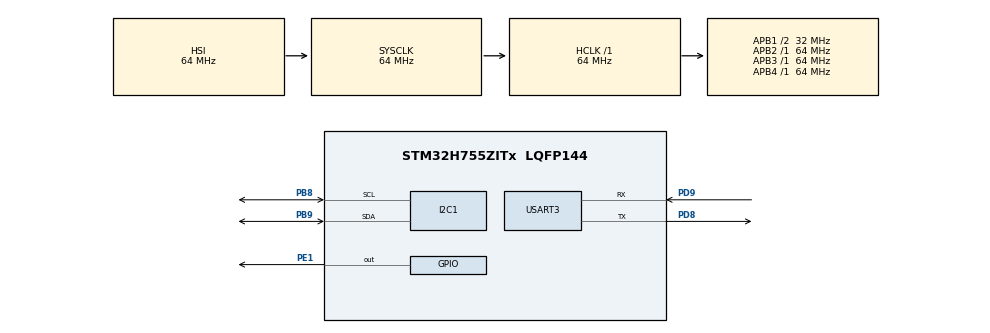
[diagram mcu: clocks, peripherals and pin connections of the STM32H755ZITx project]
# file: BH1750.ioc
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CortexM4.IPs=BDMA,CORTEX_M4\:I,DEBUG,DMA,FATFS_M4\:I,FREERTOS_M4\:I,GPIO,IWDG2\:I,MDMA,NVIC2\:I,OPENAMP_M4\:I,PDM2PCM_M4\:I,PWR,RCC,RESMGR_UTILITY,SYS_M4\:I,USB_DEVICE_M4\:I,USB_HOST_M4\:I,VREFBUF,WWDG2\:I
CortexM7.IPs=BDMA\:I,CORTEX_M7\:I,DEBUG\:I,DMA\:I,FATFS_M7\:I,FREERTOS_M7\:I,GPIO\:I,IWDG1\:I,MDMA\:I,NVIC1\:I,OPENAMP_M7\:I,PDM2PCM_M7\:I,PWR\:I,RCC\:I,RESMGR_UTILITY\:I,SYS\:I,USB_DEVICE_M7\:I,USB_HOST_M7\:I,VREFBUF\:I,WWDG1\:I,I2C1\:I,USART3\:I
CortexM7.Pins=PE1
I2C1.Timing=0x00707CBB
Mcu.Family=STM32H7
Mcu.Name=STM32H755ZITx
Mcu.Package=LQFP144
NVIC1.PriorityGroup=NVIC_PRIORITYGROUP_4
NVIC2.PriorityGroup=NVIC_PRIORITYGROUP_4
PB8.Mode=I2C
PB8.PinAttribute=CortexM7
PB8.Signal=I2C1_SCL
PB9.Mode=I2C
PB9.PinAttribute=CortexM7
PB9.Signal=I2C1_SDA
PC14-OSC32_IN\ (OSC32_IN).Mode=LSE-External-Oscillator
PC14-OSC32_IN\ (OSC32_IN).PinAttribute=Free
PC14-OSC32_IN\ (OSC32_IN).Signal=RCC_OSC32_IN
PC15-OSC32_OUT\ (OSC32_OUT).Mode=LSE-External-Oscillator
PC15-OSC32_OUT\ (OSC32_OUT).PinAttribute=Free
PC15-OSC32_OUT\ (OSC32_OUT).Signal=RCC_OSC32_OUT
PD8.Mode=Asynchronous
PD8.PinAttribute=CortexM7
PD8.Signal=USART3_TX
PD9.Mode=Asynchronous
PD9.PinAttribute=CortexM7
PD9.Signal=USART3_RX
PE1.GPIO_Speed=GPIO_SPEED_FREQ_VERY_HIGH
PE1.PinAttribute=CortexM7
PE1.Signal=GPIO_Output
PH0-OSC_IN\ (PH0).Mode=HSE-External-Oscillator
PH0-OSC_IN\ (PH0).PinAttribute=Free
PH0-OSC_IN\ (PH0).Signal=RCC_OSC_IN
PH1-OSC_OUT\ (PH1).Mode=HSE-External-Oscillator
PH1-OSC_OUT\ (PH1).PinAttribute=Free
PH1-OSC_OUT\ (PH1).Signal=RCC_OSC_OUT
ProjectManager.HeapSize=M4-0x200,M7-0x200
ProjectManager.StackSize=M4-0x400,M7-0x400
ProjectManager.TargetToolchain=STM32CubeIDE
RCC.ADCFreq_Value=129000000
RCC.APB1Freq_Value=32000000
RCC.APB2Freq_Value=64000000
RCC.APB3Freq_Value=64000000
RCC.APB4Freq_Value=64000000
RCC.CortexFreq_Value=64000000
RCC.D2PPRE1=RCC_APB1_DIV2
RCC.HCLKFreq_Value=64000000
RCC.SYSCLKFreq_VALUE=64000000
RCC.USBFreq_Value=129000000
SYS.userName=SYS_M7
USART3.VirtualMode-Asynchronous=VM_ASYNC
VP_SYS_M4_VS_Systick.Mode=SysTick
board=custom

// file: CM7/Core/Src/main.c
/* USER CODE BEGIN Header */
/**
  ******************************************************************************
  * @file           : main.c
  * @brief          : Main program body
  ******************************************************************************
  * @attention
  *
  * Copyright (c) 2023 STMicroelectronics.
  * All rights reserved.
  *
  * This software is licensed under terms that can be found in the LICENSE file
  * in the root directory of this software component.
  * If no LICENSE file comes with this software, it is provided AS-IS.
  *
  ******************************************************************************
  */
/* USER CODE END Header */
#include "main.h"

/* USER CODE BEGIN Includes */
#include "hex2bin.h"
#include "array.h"
/* USER CODE END Includes */

/* USER CODE BEGIN PD */

#ifndef HSEM_ID_0
#define HSEM_ID_0 (0U) /* HW semaphore 0*/
#endif

/* USER CODE END PD */

I2C_HandleTypeDef hi2c1;

UART_HandleTypeDef huart3;

void SystemClock_Config(void);
static void MPU_Config(void);
static void MX_GPIO_Init(void);
static void MX_I2C1_Init(void);
static void MX_USART3_UART_Init(void);

/* USER CODE BEGIN 0 */
int8_t data[27] = "Hello World\n";
const uint8_t BH1750_ADDR = 0x23; //
uint8_t dataBuffer[2] = {0x11}; // 0x10 continous high reso measurement mode
#define light_mode LIGHT_MODE_AUTO
/* USER CODE END 0 */

int main(void)
{
  /* USER CODE BEGIN 1 */
	// Must initialize buffer at the start of every round
	uint8_t dataBufferChar[2] = {0x00,0x00};
	uint8_t lux_msb;
	uint8_t lux_lsb;

// for UART Transmission
	uint8_t *plux_msb = &lux_msb;
	uint8_t *plux_lsb = &lux_lsb;

// 16-bit storages
	uint16_t lux = 0;
	uint16_t lux_data = 0;
  /* USER CODE END 1 */

/* USER CODE BEGIN Boot_Mode_Sequence_0 */
  int32_t timeout;
/* USER CODE END Boot_Mode_Sequence_0 */

  /* MPU Configuration--------------------------------------------------------*/
  MPU_Config();

/* USER CODE BEGIN Boot_Mode_Sequence_1 */
  /* Wait until CPU2 boots and enters in stop mode or timeout*/
  timeout = 0xFFFF;
  while((__HAL_RCC_GET_FLAG(RCC_FLAG_D2CKRDY) != RESET) && (timeout-- > 0));
  if ( timeout < 0 )
  {
  Error_Handler();
  }
/* USER CODE END Boot_Mode_Sequence_1 */
  /* MCU Configuration--------------------------------------------------------*/

  /* Reset of all peripherals, Initializes the Flash interface and the Systick. */
  HAL_Init();

  /* Configure the system clock */
  SystemClock_Config();
/* USER CODE BEGIN Boot_Mode_Sequence_2 */
/* When system initialization is finished, Cortex-M7 will release Cortex-M4 by means of
HSEM notification */
/*HW semaphore Clock enable*/
__HAL_RCC_HSEM_CLK_ENABLE();
/*Take HSEM */
HAL_HSEM_FastTake(HSEM_ID_0);
/*Release HSEM in order to notify the CPU2(CM4)*/
HAL_HSEM_Release(HSEM_ID_0,0);
/* wait until CPU2 wakes up from stop mode */
timeout = 0xFFFF;
while((__HAL_RCC_GET_FLAG(RCC_FLAG_D2CKRDY) == RESET) && (timeout-- > 0));
if ( timeout < 0 )
{
Error_Handler();
}
/* USER CODE END Boot_Mode_Sequence_2 */

  /* Initialize all configured peripherals */
  MX_GPIO_Init();
  MX_I2C1_Init();
  MX_USART3_UART_Init();
  /* USER CODE BEGIN 2 */
  HAL_UART_Transmit(&huart3, data, 27, 10);
  /* USER CODE END 2 */

  /* Infinite loop */
  while (1)
  {

    /* USER CODE BEGIN 3 */
	  //HAL_GPIO_WritePin(GPIOE, GPIO_PIN_1, GPIO_PIN_SET);
	  //HAL_Delay(100);
	  //HAL_GPIO_WritePin(GPIOE, GPIO_PIN_1, GPIO_PIN_RESET);
	  //HAL_Delay(100);

	  char binary_buffer[17] = {};
	  		char result[5] = {};
	  		lux_data = 0;
	  		uint16_t lux_array[5] = {};
	  		//uint8_t data[] = "Nope, standing up for myself\n";
	  		//HAL_UART_Transmit(&huart1, data, sizeof(data), 500);
	  		//HAL_Delay(500);
	  		HAL_I2C_Master_Transmit(&hi2c1, BH1750_ADDR<<1, dataBuffer, 1, 500);
	  		HAL_Delay(180);
	  		HAL_I2C_Master_Receive(&hi2c1, BH1750_ADDR<<1, dataBufferChar, 2, 500);
	  		lux_msb = dataBufferChar[0];
	  		lux_lsb = dataBufferChar[1];
	  		lux = (lux_msb << 8 )| lux_lsb;
	  		sprintf(result, "%04x", lux);
	  		HexToBin(result, binary_buffer);
	  		for(uint8_t x = 0; x<16; x++){
	  			switch(binary_buffer[15-x]){
	  				case '1': lux_data = lux_data + pow(2,x);
	  					break;

	  				case '0':
	  				default:
	  						lux_data += 0;
	  			}
	  		}
	  		char data[14];
	  		sprintf(data, "%04d lux \r\n", lux_data);
	  		light_on_Init();

	  		for (uint8_t x=0;x<5;x++)
	  		{
	  			if(lux <= LUX_THRESHOLD)
	  			{
	  				lux_array[x] = 1;
	  			}
	  			else{
	  				lux_array[x] = 0;
	  			}
	  			HAL_Delay(250);
	  		}

	  		if(light_status_indicator(light_mode, lux_array)==1)
	  		{
	  				HAL_GPIO_WritePin(GPIOE,GPIO_PIN_1,1);
	  		}
	  		else
	  		{
	  			HAL_GPIO_WritePin(GPIOE,GPIO_PIN_1,0);
	  		}

	  		HAL_UART_Transmit(&huart3, (uint8_t*)(data), strlen(data), 500);
	  		HAL_Delay(100);
  }
  /* USER CODE END 3 */
}

void SystemClock_Config(void)
{
  RCC_OscInitTypeDef RCC_OscInitStruct = {0};
  RCC_ClkInitTypeDef RCC_ClkInitStruct = {0};

  /** Supply configuration update enable
  */
  HAL_PWREx_ConfigSupply(PWR_DIRECT_SMPS_SUPPLY);

  /** Configure the main internal regulator output voltage
  */
  __HAL_PWR_VOLTAGESCALING_CONFIG(PWR_REGULATOR_VOLTAGE_SCALE3);

  while(!__HAL_PWR_GET_FLAG(PWR_FLAG_VOSRDY)) {}

  /** Initializes the RCC Oscillators according to the specified parameters
  * in the RCC_OscInitTypeDef structure.
  */
  RCC_OscInitStruct.OscillatorType = RCC_OSCILLATORTYPE_HSI;
  RCC_OscInitStruct.HSIState = RCC_HSI_DIV1;
  RCC_OscInitStruct.HSICalibrationValue = RCC_HSICALIBRATION_DEFAULT;
  RCC_OscInitStruct.PLL.PLLState = RCC_PLL_NONE;
  if (HAL_RCC_OscConfig(&RCC_OscInitStruct) != HAL_OK)
  {
    Error_Handler();
  }

  /** Initializes the CPU, AHB and APB buses clocks
  */
  RCC_ClkInitStruct.ClockType = RCC_CLOCKTYPE_HCLK|RCC_CLOCKTYPE_SYSCLK
                              |RCC_CLOCKTYPE_PCLK1|RCC_CLOCKTYPE_PCLK2
                              |RCC_CLOCKTYPE_D3PCLK1|RCC_CLOCKTYPE_D1PCLK1;
  RCC_ClkInitStruct.SYSCLKSource = RCC_SYSCLKSOURCE_HSI;
  RCC_ClkInitStruct.SYSCLKDivider = RCC_SYSCLK_DIV1;
  RCC_ClkInitStruct.AHBCLKDivider = RCC_HCLK_DIV1;
  RCC_ClkInitStruct.APB3CLKDivider = RCC_APB3_DIV1;
  RCC_ClkInitStruct.APB1CLKDivider = RCC_APB1_DIV2;
  RCC_ClkInitStruct.APB2CLKDivider = RCC_APB2_DIV1;
  RCC_ClkInitStruct.APB4CLKDivider = RCC_APB4_DIV1;

  if (HAL_RCC_ClockConfig(&RCC_ClkInitStruct, FLASH_LATENCY_1) != HAL_OK)
  {
    Error_Handler();
  }
}

static void MX_I2C1_Init(void)
{

  hi2c1.Instance = I2C1;
  hi2c1.Init.Timing = 0x00707CBB;
  hi2c1.Init.OwnAddress1 = 0;
  hi2c1.Init.AddressingMode = I2C_ADDRESSINGMODE_7BIT;
  hi2c1.Init.DualAddressMode = I2C_DUALADDRESS_DISABLE;
  hi2c1.Init.OwnAddress2 = 0;
  hi2c1.Init.OwnAddress2Masks = I2C_OA2_NOMASK;
  hi2c1.Init.GeneralCallMode = I2C_GENERALCALL_DISABLE;
  hi2c1.Init.NoStretchMode = I2C_NOSTRETCH_DISABLE;
  if (HAL_I2C_Init(&hi2c1) != HAL_OK)
  {
    Error_Handler();
  }

  /** Configure Analogue filter
  */
  if (HAL_I2CEx_ConfigAnalogFilter(&hi2c1, I2C_ANALOGFILTER_ENABLE) != HAL_OK)
  {
    Error_Handler();
  }

  /** Configure Digital filter
  */
  if (HAL_I2CEx_ConfigDigitalFilter(&hi2c1, 0) != HAL_OK)
  {
    Error_Handler();
  }

}

static void MX_USART3_UART_Init(void)
{

  huart3.Instance = USART3;
  huart3.Init.BaudRate = 115200;
  huart3.Init.WordLength = UART_WORDLENGTH_8B;
  huart3.Init.StopBits = UART_STOPBITS_1;
  huart3.Init.Parity = UART_PARITY_NONE;
  huart3.Init.Mode = UART_MODE_TX_RX;
  huart3.Init.HwFlowCtl = UART_HWCONTROL_NONE;
  huart3.Init.OverSampling = UART_OVERSAMPLING_16;
  huart3.Init.OneBitSampling = UART_ONE_BIT_SAMPLE_DISABLE;
  huart3.Init.ClockPrescaler = UART_PRESCALER_DIV1;
  huart3.AdvancedInit.AdvFeatureInit = UART_ADVFEATURE_NO_INIT;
  if (HAL_UART_Init(&huart3) != HAL_OK)
  {
    Error_Handler();
  }
  if (HAL_UARTEx_SetTxFifoThreshold(&huart3, UART_TXFIFO_THRESHOLD_1_8) != HAL_OK)
  {
    Error_Handler();
  }
  if (HAL_UARTEx_SetRxFifoThreshold(&huart3, UART_RXFIFO_THRESHOLD_1_8) != HAL_OK)
  {
    Error_Handler();
  }
  if (HAL_UARTEx_DisableFifoMode(&huart3) != HAL_OK)
  {
    Error_Handler();
  }

}

static void MX_GPIO_Init(void)
{
  GPIO_InitTypeDef GPIO_InitStruct = {0};

  /* GPIO Ports Clock Enable */
  __HAL_RCC_GPIOD_CLK_ENABLE();
  __HAL_RCC_GPIOB_CLK_ENABLE();
  __HAL_RCC_GPIOE_CLK_ENABLE();

  /*Configure GPIO pin Output Level */
  HAL_GPIO_WritePin(GPIOE, GPIO_PIN_1, GPIO_PIN_RESET);

  /*Configure GPIO pin : PE1 */
  GPIO_InitStruct.Pin = GPIO_PIN_1;
  GPIO_InitStruct.Mode = GPIO_MODE_OUTPUT_PP;
  GPIO_InitStruct.Pull = GPIO_NOPULL;
  GPIO_InitStruct.Speed = GPIO_SPEED_FREQ_VERY_HIGH;
  HAL_GPIO_Init(GPIOE, &GPIO_InitStruct);

}

/* MPU Configuration */

void MPU_Config(void)
{
  MPU_Region_InitTypeDef MPU_InitStruct = {0};

  /* Disables the MPU */
  HAL_MPU_Disable();

  /** Initializes and configures the Region and the memory to be protected
  */
  MPU_InitStruct.Enable = MPU_REGION_ENABLE;
  MPU_InitStruct.Number = MPU_REGION_NUMBER0;
  MPU_InitStruct.BaseAddress = 0x0;
  MPU_InitStruct.Size = MPU_REGION_SIZE_4GB;
  MPU_InitStruct.SubRegionDisable = 0x87;
  MPU_InitStruct.TypeExtField = MPU_TEX_LEVEL0;
  MPU_InitStruct.AccessPermission = MPU_REGION_NO_ACCESS;
  MPU_InitStruct.DisableExec = MPU_INSTRUCTION_ACCESS_DISABLE;
  MPU_InitStruct.IsShareable = MPU_ACCESS_SHAREABLE;
  MPU_InitStruct.IsCacheable = MPU_ACCESS_NOT_CACHEABLE;
  MPU_InitStruct.IsBufferable = MPU_ACCESS_NOT_BUFFERABLE;

  HAL_MPU_ConfigRegion(&MPU_InitStruct);
  /* Enables the MPU */
  HAL_MPU_Enable(MPU_PRIVILEGED_DEFAULT);

}

void Error_Handler(void)
{
  __disable_irq();
  while (1)
  {
  }
}
